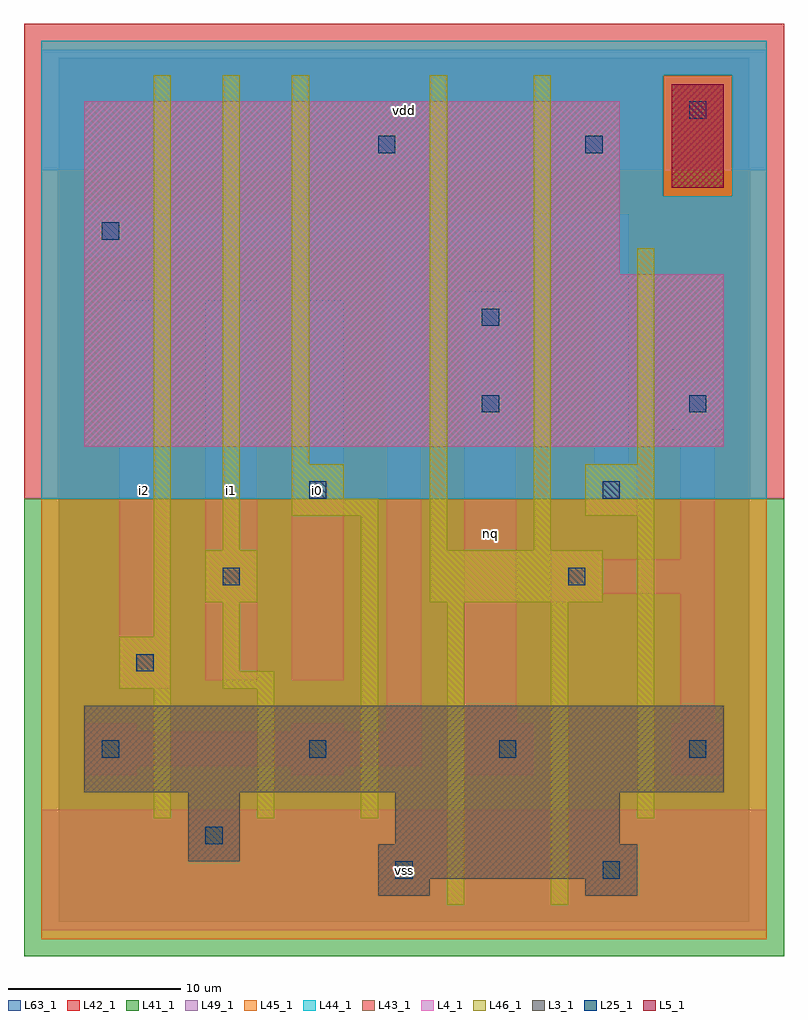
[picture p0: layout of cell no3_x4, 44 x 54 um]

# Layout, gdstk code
import gdstk
lib = gdstk.Library(unit=1e-6, precision=1e-09)
def R(c, l, rs):  # rectangles x0, y0, x1, y1
    for r in rs: c.add(gdstk.rectangle(r[:2], r[2:], *l))
def A(c, l, x, y, w, h, nx, ny, dx, dy):  # array of equal rectangles
    R(c, l, [(x+i*dx, y+j*dy, x+i*dx+w, y+j*dy+h) for i in range(nx) for j in range(ny)])
L3_1 = (3, 1)
L4_1 = (4, 1)
L5_1 = (5, 1)
L25_1 = (25, 1)
L41_1 = (41, 1)
L42_1 = (42, 1)
L43_1 = (43, 1)
L44_1 = (44, 1)
L45_1 = (45, 1)
L46_1 = (46, 1)
L49_1 = (49, 1)
L63_1 = (63, 1)

no3_x4 = lib.new_cell('no3_x4')
R(no3_x4, L3_1, [(18.5,1.5,21.5,2.5), (30.5,1.5,33.5,2.5), (18.5,2.5,33.5,4.5), (7.5,3.5,10.5,7.5), (19.5,4.5,32.5,7.5), (1.5,7.5,38.5,12.5)])
R(no3_x4, L4_1, [(1.5,27.5,38.5,37.5), (1.5,37.5,32.5,47.5)])
R(no3_x4, L5_1, [(35.5,42.5,38.5,48.5)])
A(no3_x4, L25_1, 14.5, 9.5, 1, 1, 3, 1, 11, 0)
R(no3_x4, L25_1, [(19.5,2.5,20.5,3.5), (31.5,2.5,32.5,3.5), (8.5,4.5,9.5,5.5), (2.5,9.5,3.5,10.5), (4.5,14.5,5.5,15.5), (9.5,19.5,10.5,20.5), (29.5,19.5,30.5,20.5), (14.5,24.5,15.5,25.5), (31.5,24.5,32.5,25.5), (24.5,29.5,25.5,30.5), (36.5,29.5,37.5,30.5), (24.5,34.5,25.5,35.5), (2.5,39.5,3.5,40.5), (18.5,44.5,19.5,45.5), (30.5,44.5,31.5,45.5), (36.5,46.5,37.5,47.5)])
R(no3_x4, L41_1, [(-2,-2,42,24.5)])
R(no3_x4, L42_1, [(-2,24.5,42,52)])
R(no3_x4, L43_1, [(18.5,1.5,21.5,2.5), (30.5,1.5,33.5,2.5), (18.5,2.5,33.5,4.5), (7.5,3.5,10.5,7.5), (19.5,4.5,32.5,7.5), (1.5,7.5,38.5,12.5), (1.5,27.5,38.5,37.5), (1.5,37.5,32.5,47.5), (35.5,42.5,38.5,48.5)])
R(no3_x4, L44_1, [(-1,24.5,41,42), (-1,42,35,49), (39,42,41,49), (-1,49,41,51)])
R(no3_x4, L45_1, [(-1,-1,41,24.5), (35,42,39,49)])
R(no3_x4, L46_1, [(22.5,1,23.5,18.5), (28.5,1,29.5,18.5), (5.5,6,6.5,13.5), (11.5,6,12.5,13.5), (17.5,6,18.5,23.5), (33.5,6,34.5,23.5), (3.5,13.5,6.5,16.5), (9.5,13.5,12.5,14.5), (9.5,14.5,10.5,18.5), (5.5,16.5,6.5,49), (8.5,18.5,11.5,21.5), (21.5,18.5,31.5,21.5), (9.5,21.5,10.5,49), (21.5,21.5,22.5,49), (27.5,21.5,28.5,49), (13.5,23.5,18.5,24.5), (30.5,23.5,34.5,26.5), (13.5,24.5,16.5,26.5), (13.5,26.5,14.5,49), (33.5,26.5,34.5,39)])
R(no3_x4, L49_1, [(-1,-0.5,41,6.5), (1.5,8.5,4.5,9), (13.5,8.5,16.5,9), (23.5,8.5,27.5,11.5), (35.5,8.5,38.5,11.5), (1.5,9,21,11), (1.5,11,4.5,11.5), (13.5,11,16.5,11.5), (19,11,21,39), (23.5,11.5,26.5,36.5), (36,11.5,38,19), (3.5,13.5,6.5,36), (8.5,14,11.5,36), (13.5,14,16.5,36), (28.5,18.5,31.5,19), (28.5,19,38,21), (28.5,21,31.5,21.5), (36,21,38,28.5), (30.5,23.5,33.5,26.5), (31,26.5,33,39), (35.5,28.5,38.5,31.5), (1.5,38.5,4.5,39), (1.5,39,33,41), (1.5,41,4.5,41.5), (-1,43.5,41,50.5)])
R(no3_x4, L63_1, [(0,0,40,50)])
no3_x4.add(gdstk.Label('i2', (5,25), layer=49, texttype=1))
no3_x4.add(gdstk.Label('i2', (5,25), layer=49, texttype=1))
no3_x4.add(gdstk.Label('i0', (15,25), layer=49, texttype=1))
no3_x4.add(gdstk.Label('i0', (15,25), layer=49, texttype=1))
no3_x4.add(gdstk.Label('i1', (10,25), layer=49, texttype=1))
no3_x4.add(gdstk.Label('i1', (10,25), layer=49, texttype=1))
no3_x4.add(gdstk.Label('vss', (20,3), layer=49, texttype=1))
no3_x4.add(gdstk.Label('vss', (20,3), layer=49, texttype=1))
no3_x4.add(gdstk.Label('nq', (25,22.5), layer=49, texttype=1))
no3_x4.add(gdstk.Label('nq', (25,22.5), layer=49, texttype=1))
no3_x4.add(gdstk.Label('vdd', (20,47), layer=49, texttype=1))
no3_x4.add(gdstk.Label('vdd', (20,47), layer=49, texttype=1))

lib.write_gds('no3_x4.gds')
